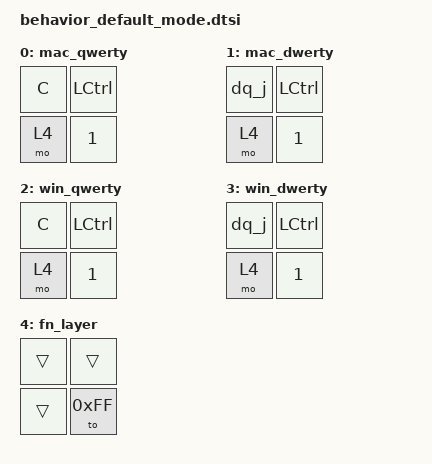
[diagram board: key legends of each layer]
/* Four-position model for a live Qwerty/Dwerty default-layer change. */
/ {
    behaviors {
        dq_j: dvorak_qwerty_j {
            compatible = "zmk,behavior-mod-morph";
            #binding-cells = <0>;
            bindings = <&kp J>, <&kp C>;
            mods = <(MOD_LCTL|MOD_RCTL|MOD_LALT|MOD_RALT|MOD_LGUI|MOD_RGUI)>;
            keep-mods = <(MOD_LCTL|MOD_RCTL|MOD_LALT|MOD_RALT|MOD_LGUI|MOD_RGUI)>;
        };
    };

    keymap {
        compatible = "zmk,keymap";

        mac_qwerty {
            bindings = <
                &kp C      &kp LCTRL
                &mo 4      &kp N1
            >;
        };

        mac_dwerty {
            bindings = <
                &dq_j      &kp LCTRL
                &mo 4      &kp N1
            >;
        };

        win_qwerty {
            bindings = <
                &kp C      &kp LCTRL
                &mo 4      &kp N1
            >;
        };

        win_dwerty {
            bindings = <
                &dq_j      &kp LCTRL
                &mo 4      &kp N1
            >;
        };

        fn_layer {
            bindings = <
                &trans     &trans
                &trans     &to 0xFF
            >;
        };
    };
};
